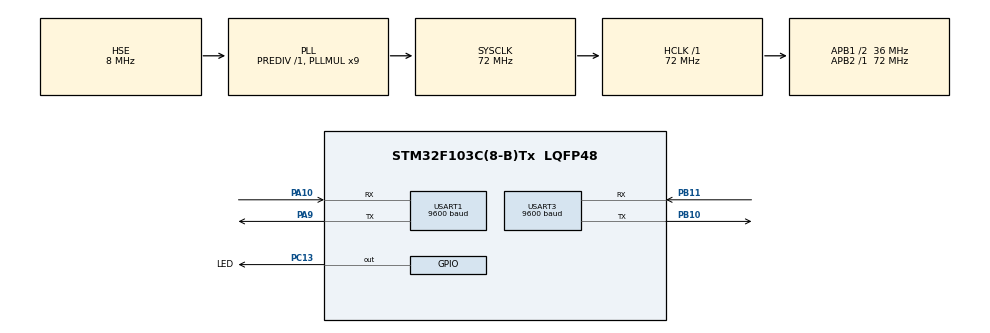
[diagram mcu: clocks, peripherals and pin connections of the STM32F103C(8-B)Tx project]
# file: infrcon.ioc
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FREERTOS.Tasks01=defaultTask,0,128,StartDefaultTask,Default,NULL,Dynamic,NULL,NULL;ledTask,-1,128,LedTask,Default,NULL,Dynamic,NULL,NULL;infraContolTask,0,128,InfraControlTask,Default,NULL,Dynamic,NULL,NULL
Mcu.Family=STM32F1
Mcu.Name=STM32F103C(8-B)Tx
Mcu.Package=LQFP48
NVIC.PriorityGroup=NVIC_PRIORITYGROUP_4
NVIC.TIM3_IRQn=true\:15\:0\:false\:false\:true\:false\:false\:true\:true
NVIC.TimeBase=TIM3_IRQn
NVIC.TimeBaseIP=TIM3
PA10.Mode=Asynchronous
PA10.Signal=USART1_RX
PA13.Mode=Serial_Wire
PA13.Signal=SYS_JTMS-SWDIO
PA14.Mode=Serial_Wire
PA14.Signal=SYS_JTCK-SWCLK
PA9.Mode=Asynchronous
PA9.Signal=USART1_TX
PB10.Mode=Asynchronous
PB10.Signal=USART3_TX
PB11.Mode=Asynchronous
PB11.Signal=USART3_RX
PB6.Signal=I2C1_SCL
PB7.Signal=I2C1_SDA
PC13-TAMPER-RTC.GPIO_Label=LED
PC13-TAMPER-RTC.Signal=GPIO_Output
PD0-OSC_IN.Mode=HSE-External-Oscillator
PD0-OSC_IN.Signal=RCC_OSC_IN
PD1-OSC_OUT.Mode=HSE-External-Oscillator
PD1-OSC_OUT.Signal=RCC_OSC_OUT
ProjectManager.HeapSize=0x200
ProjectManager.StackSize=0x400
ProjectManager.TargetToolchain=MDK-ARM V5.32
RCC.AHBFreq_Value=72000000
RCC.APB1CLKDivider=RCC_HCLK_DIV2
RCC.APB1Freq_Value=36000000
RCC.APB1TimFreq_Value=72000000
RCC.APB2Freq_Value=72000000
RCC.APB2TimFreq_Value=72000000
RCC.HCLKFreq_Value=72000000
RCC.PLLMUL=RCC_PLL_MUL9
RCC.PLLSourceVirtual=RCC_PLLSOURCE_HSE
RCC.SYSCLKFreq_VALUE=72000000
RCC.SYSCLKSource=RCC_SYSCLKSOURCE_PLLCLK
RCC.USBFreq_Value=48000000
RCC.USBPrescaler=RCC_USBCLKSOURCE_PLL_DIV1_5
USART1.BaudRate=9600
USART1.VirtualMode=VM_ASYNC
USART3.BaudRate=9600
USART3.VirtualMode=VM_ASYNC
VP_FREERTOS_VS_CMSIS_V1.Mode=CMSIS_V1
VP_SYS_VS_tim3.Mode=TIM3
board=custom

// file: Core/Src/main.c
/* USER CODE BEGIN Header */
/**
  ******************************************************************************
  * @file           : main.c
  * @brief          : Main program body
  ******************************************************************************
  * @attention
  *
  * Copyright (c) 2023 STMicroelectronics.
  * All rights reserved.
  *
  * This software is licensed under terms that can be found in the LICENSE file
  * in the root directory of this software component.
  * If no LICENSE file comes with this software, it is provided AS-IS.
  *
  ******************************************************************************
  */
/* USER CODE END Header */
#include "main.h"
#include "cmsis_os.h"
#include "usart.h"
#include "gpio.h"

void SystemClock_Config(void);
void MX_FREERTOS_Init(void);

int main(void)
{

  /* MCU Configuration--------------------------------------------------------*/

  /* Reset of all peripherals, Initializes the Flash interface and the Systick. */
  HAL_Init();

  /* Configure the system clock */
  SystemClock_Config();

  /* Initialize all configured peripherals */
  MX_GPIO_Init();
  MX_USART1_UART_Init();
  MX_USART3_UART_Init();

  /* Call init function for freertos objects (in freertos.c) */
  MX_FREERTOS_Init();

  /* Start scheduler */
  osKernelStart();

  /* We should never get here as control is now taken by the scheduler */
  /* Infinite loop */
  while (1)
  {

  }
}

void SystemClock_Config(void)
{
  RCC_OscInitTypeDef RCC_OscInitStruct = {0};
  RCC_ClkInitTypeDef RCC_ClkInitStruct = {0};

  /** Initializes the RCC Oscillators according to the specified parameters
  * in the RCC_OscInitTypeDef structure.
  */
  RCC_OscInitStruct.OscillatorType = RCC_OSCILLATORTYPE_HSE;
  RCC_OscInitStruct.HSEState = RCC_HSE_ON;
  RCC_OscInitStruct.HSEPredivValue = RCC_HSE_PREDIV_DIV1;
  RCC_OscInitStruct.HSIState = RCC_HSI_ON;
  RCC_OscInitStruct.PLL.PLLState = RCC_PLL_ON;
  RCC_OscInitStruct.PLL.PLLSource = RCC_PLLSOURCE_HSE;
  RCC_OscInitStruct.PLL.PLLMUL = RCC_PLL_MUL9;
  if (HAL_RCC_OscConfig(&RCC_OscInitStruct) != HAL_OK)
  {
    Error_Handler();
  }

  /** Initializes the CPU, AHB and APB buses clocks
  */
  RCC_ClkInitStruct.ClockType = RCC_CLOCKTYPE_HCLK|RCC_CLOCKTYPE_SYSCLK
                              |RCC_CLOCKTYPE_PCLK1|RCC_CLOCKTYPE_PCLK2;
  RCC_ClkInitStruct.SYSCLKSource = RCC_SYSCLKSOURCE_PLLCLK;
  RCC_ClkInitStruct.AHBCLKDivider = RCC_SYSCLK_DIV1;
  RCC_ClkInitStruct.APB1CLKDivider = RCC_HCLK_DIV2;
  RCC_ClkInitStruct.APB2CLKDivider = RCC_HCLK_DIV1;

  if (HAL_RCC_ClockConfig(&RCC_ClkInitStruct, FLASH_LATENCY_2) != HAL_OK)
  {
    Error_Handler();
  }
}

void HAL_TIM_PeriodElapsedCallback(TIM_HandleTypeDef *htim)
{
  if (htim->Instance == TIM3) {
    HAL_IncTick();
  }
}

void Error_Handler(void)
{
  __disable_irq();
  while (1)
  {
  }
}

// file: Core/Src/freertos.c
/* USER CODE BEGIN Header */
/**
  ******************************************************************************
  * File Name          : freertos.c
  * Description        : Code for freertos applications
  ******************************************************************************
  * @attention
  *
  * Copyright (c) 2023 STMicroelectronics.
  * All rights reserved.
  *
  * This software is licensed under terms that can be found in the LICENSE file
  * in the root directory of this software component.
  * If no LICENSE file comes with this software, it is provided AS-IS.
  *
  ******************************************************************************
  */
/* USER CODE END Header */

#include "FreeRTOS.h"
#include "task.h"
#include "main.h"
#include "cmsis_os.h"

/* USER CODE BEGIN Includes */
//#include "sys.h"
#include "usart.h"
#include <string.h>
//#include "stdlib.h"

/* USER CODE END Includes */

osThreadId defaultTaskHandle;
osThreadId ledTaskHandle;
osThreadId infraContolTaskHandle;

void StartDefaultTask(void const * argument);
void LedTask(void const * argument);
void InfraControlTask(void const * argument);

void MX_FREERTOS_Init(void); /* (MISRA C 2004 rule 8.1) */

/* GetIdleTaskMemory prototype (linked to static allocation support) */
void vApplicationGetIdleTaskMemory( StaticTask_t **ppxIdleTaskTCBBuffer, StackType_t **ppxIdleTaskStackBuffer, uint32_t *pulIdleTaskStackSize );

/* USER CODE BEGIN GET_IDLE_TASK_MEMORY */
static StaticTask_t xIdleTaskTCBBuffer;
static StackType_t xIdleStack[configMINIMAL_STACK_SIZE];

void vApplicationGetIdleTaskMemory( StaticTask_t **ppxIdleTaskTCBBuffer, StackType_t **ppxIdleTaskStackBuffer, uint32_t *pulIdleTaskStackSize )
{
  *ppxIdleTaskTCBBuffer = &xIdleTaskTCBBuffer;
  *ppxIdleTaskStackBuffer = &xIdleStack[0];
  *pulIdleTaskStackSize = configMINIMAL_STACK_SIZE;
  /* place for user code */
}
/* USER CODE END GET_IDLE_TASK_MEMORY */

void MX_FREERTOS_Init(void) {

  /* Create the thread(s) */
  /* definition and creation of defaultTask */
  osThreadDef(defaultTask, StartDefaultTask, osPriorityNormal, 0, 128);
  defaultTaskHandle = osThreadCreate(osThread(defaultTask), NULL);

  /* definition and creation of ledTask */
  osThreadDef(ledTask, LedTask, osPriorityBelowNormal, 0, 128);
  ledTaskHandle = osThreadCreate(osThread(ledTask), NULL);

  /* definition and creation of infraContolTask */
  osThreadDef(infraContolTask, InfraControlTask, osPriorityNormal, 0, 128);
  infraContolTaskHandle = osThreadCreate(osThread(infraContolTask), NULL);

}

void StartDefaultTask(void const * argument)
{
  for(;;)
  {
    osDelay(1);
  }
}

void LedTask(void const * argument)
{
  /* USER CODE BEGIN LedTask */
  /* Infinite loop */
  for(;;)
  {

    HAL_GPIO_TogglePin(LED_GPIO_Port, LED_Pin);    //指示灯
    printf("infra control  ver 1.0\r\n");
    osDelay(60000);

  }
  /* USER CODE END LedTask */
}

void InfraControlTask(void const * argument)
{
  /* USER CODE BEGIN InfraControlTask */
//    int i;
    int j;
    int  channelcount = 0;
    char chstring[] = "168";
    uint8_t infradata[10][5] = {{0xFA, 0xFD, 0x02, 0x00, 0xDF},
                                {0xFA, 0xFD, 0x02, 0x01, 0xDF},
                                {0xFA, 0xFD, 0x02, 0x02, 0xDF},
                                {0xFA, 0xFD, 0x02, 0x03, 0xDF},
                                {0xFA, 0xFD, 0x02, 0x04, 0xDF},
                                {0xFA, 0xFD, 0x02, 0x05, 0xDF},
                                {0xFA, 0xFD, 0x02, 0x06, 0xDF},
                                {0xFA, 0xFD, 0x02, 0x07, 0xDF},
                                {0xFA, 0xFD, 0x02, 0x08, 0xDF},
                                {0xFA, 0xFD, 0x02, 0x09, 0xDF}
        };

//    int channel[12] = {1, 2, 3, 4, 5, 6, 88, 95, 152, 153, 154, 155}; //高清+标清  12个频道
    int channel[6] = {1, 2, 3, 4, 5, 6};            //标清  6个频道，或高清机顶盒  6个频道
  for(;;)
  {

    HAL_GPIO_TogglePin(LED_GPIO_Port, LED_Pin);    //指示灯
    if  (channelcount >=  sizeof(channel)/sizeof(int)){     //channnelcount 为每个频道号的计数，一个循环发送一个频道
        channelcount = 0;
    }
        sprintf(chstring, "%d", channel[channelcount]);     //将频道号整数转换成字符串
//        printf(" length=%d\n", strlen(chstring));

        for (j = 0; j < strlen(chstring); j++) {            //将频道号字符串逐个字提取，并发送至指定地址
            HAL_UART_Transmit(&huart1, infradata[chstring[j]-48], 5, 1000);    //发往com1,测试数据,字符数字的ascii值-48（0x30）就是十进制数字
            HAL_UART_Transmit(&huart3, infradata[chstring[j]-48], 5, 1000);    //发往com1,测试数据
            osDelay(100);
            HAL_UART_Transmit(&huart3, infradata[chstring[j]-48], 5, 1000);    //发往com1,测试数据
            osDelay(100);
            HAL_UART_Transmit(&huart3, infradata[chstring[j]-48], 5, 1000);    //发往com1,测试数据
            osDelay(1000);
        }
    channelcount++;

    osDelay(3000);
  }
  /* USER CODE END InfraControlTask */
}
